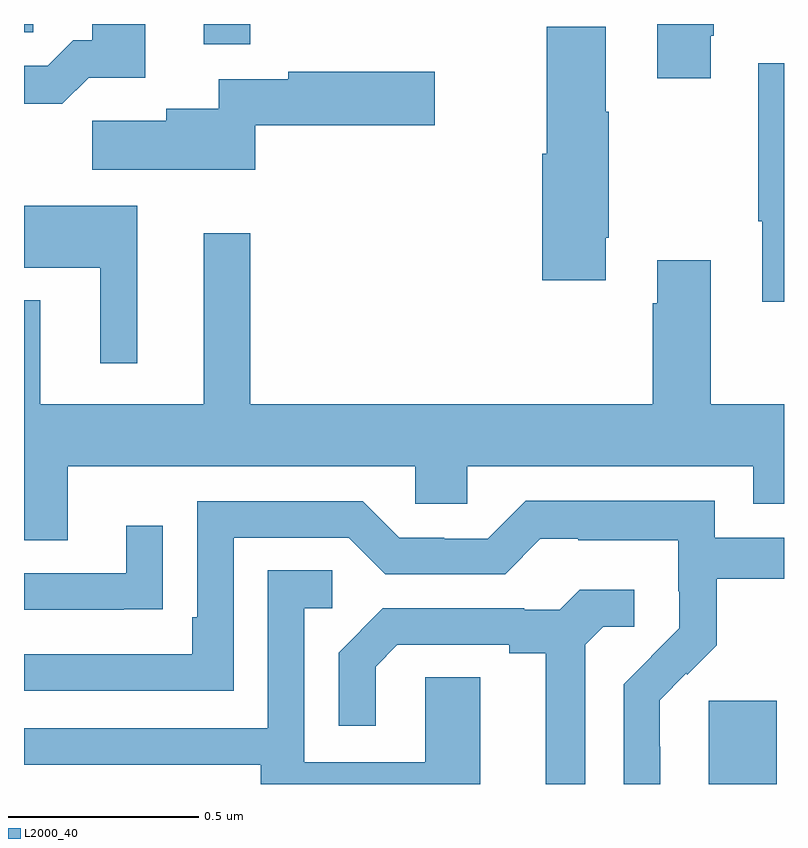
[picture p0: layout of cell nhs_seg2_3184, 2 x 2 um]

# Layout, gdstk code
import gdstk
lib = gdstk.Library(unit=1e-6, precision=1e-09)
def R(c, l, rs):  # rectangles x0, y0, x1, y1
    for r in rs: c.add(gdstk.rectangle(r[:2], r[2:], *l))
def P(c, l, *ps):  # polygons
    for p in ps: c.add(gdstk.Polygon(p, *l))
L2000_40 = (2000, 40)

nhs_seg2_3184 = lib.new_cell('nhs_seg2_3184')
R(nhs_seg2_3184, L2000_40, [(151.802,646.8,151.981,647.019), (150.473,648.747,150.595,648.8), (150,648.778,150.024,648.8)])
P(nhs_seg2_3184, L2000_40, [(151.807,648.769),(151.815,648.769),(151.815,648.8),(151.667,648.8),(151.667,648.657),(151.807,648.657)],
  [(150.17,648.659),(150.319,648.659),(150.319,648.8),(150.179,648.8),(150.179,648.757),(150.13,648.757),(150.063,648.69),(150,648.69),(150,648.59),(150.101,648.59)],
  [(151.531,648.238),(151.539,648.238),(151.539,648.569),(151.531,648.569),(151.531,648.793),(151.376,648.793),(151.376,648.459),(151.364,648.459),(151.364,648.126),(151.531,648.126)],
  [(152,648.697),(151.932,648.697),(151.932,648.281),(151.943,648.281),(151.943,648.069),(152,648.069)],
  [(150.609,648.533),(151.081,648.533),(151.081,648.675),(150.696,648.675),(150.696,648.655),(150.513,648.655),(150.513,648.577),(150.374,648.577),(150.374,648.545),(150.18,648.545),(150.18,648.416),(150.609,648.416)],
  [(150.298,648.322),(150,648.322),(150,648.158),(150.2,648.158),(150.2,647.907),(150.298,647.907)],
  [(150.115,647.636),(151.029,647.636),(151.029,647.538),(151.167,647.538),(151.167,647.636),(151.919,647.636),(151.919,647.537),(152,647.537),(152,647.8),(151.807,647.8),(151.807,648.178),(151.667,648.178),(151.667,648.065),(151.655,648.065),(151.655,647.8),(150.595,647.8),(150.595,648.25),(150.473,648.25),(150.473,647.8),(150.043,647.8),(150.043,648.073),(150,648.073),(150,647.442),(150.115,647.442)],
  [(151.674,646.898),(151.673,646.898),(151.673,647.021),(151.743,647.091),(151.746,647.088),(151.823,647.165),(151.823,647.34),(152,647.34),(152,647.448),(151.818,647.448),(151.818,647.545),(151.321,647.545),(151.221,647.445),(151.106,647.445),(151.106,647.448),(150.987,647.448),(150.891,647.544),(150.456,647.544),(150.456,647.239),(150.443,647.239),(150.443,647.142),(150,647.142),(150,647.046),(150.552,647.046),(150.552,647.448),(150.855,647.448),(150.951,647.352),(151.266,647.352),(151.359,647.445),(151.459,647.445),(151.459,647.441),(151.722,647.441),(151.722,647.307),(151.724,647.307),(151.724,647.21),(151.65,647.136),(151.651,647.135),(151.578,647.062),(151.578,646.8),(151.674,646.8)],
  [(150.263,647.26),(150.365,647.26),(150.365,647.479),(150.269,647.479),(150.269,647.355),(150,647.355),(150,647.259),(150.263,647.259)],
  [(151.201,647.081),(151.056,647.081),(151.056,646.857),(150.738,646.857),(150.738,647.262),(150.811,647.262),(150.811,647.363),(150.642,647.363),(150.642,646.947),(150,646.947),(150,646.851),(150.623,646.851),(150.623,646.8),(151.201,646.8)],
  [(151.477,647.167),(151.524,647.214),(151.606,647.214),(151.606,647.311),(151.462,647.311),(151.41,647.259),(151.316,647.259),(151.316,647.262),(150.944,647.262),(150.828,647.146),(150.828,646.953),(150.925,646.953),(150.925,647.109),(150.982,647.166),(151.277,647.166),(151.277,647.144),(151.373,647.144),(151.373,646.8),(151.477,646.8)])

lib.write_gds('nhs_seg2_3184.gds')
